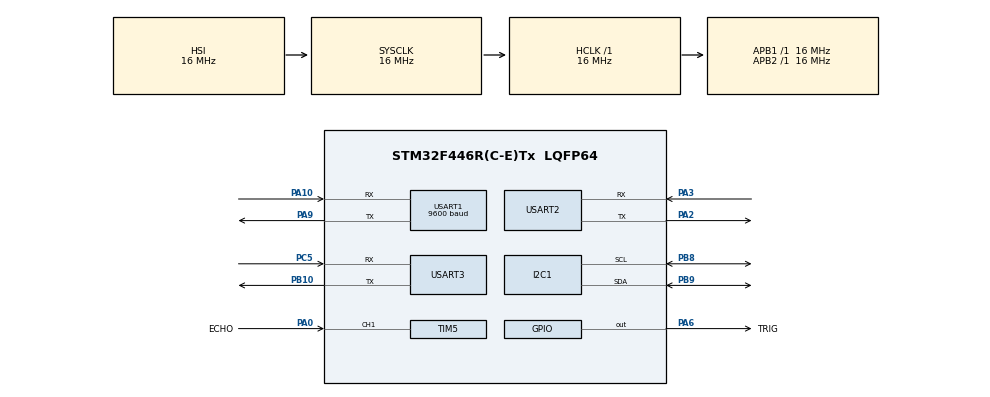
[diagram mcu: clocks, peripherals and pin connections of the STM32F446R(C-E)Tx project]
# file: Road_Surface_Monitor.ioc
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Mcu.Family=STM32F4
Mcu.Name=STM32F446R(C-E)Tx
Mcu.Package=LQFP64
NVIC.PriorityGroup=NVIC_PRIORITYGROUP_0
NVIC.TIM5_IRQn=true\:0\:0\:false\:false\:true\:true\:true\:true
NVIC.USART1_IRQn=true\:0\:0\:false\:false\:true\:true\:true\:true
NVIC.USART3_IRQn=true\:0\:0\:false\:false\:true\:true\:true\:true
PA0-WKUP.GPIO_Label=ECHO
PA0-WKUP.Signal=S_TIM5_CH1
PA10.Mode=Asynchronous
PA10.Signal=USART1_RX
PA13.Signal=SYS_JTMS-SWDIO
PA14.GPIO_Label=TCK
PA14.Signal=SYS_JTCK-SWCLK
PA2.Mode=Asynchronous
PA2.Signal=USART2_TX
PA3.Mode=Asynchronous
PA3.Signal=USART2_RX
PA6.GPIO_Label=TRIG
PA6.GPIO_Speed=GPIO_SPEED_FREQ_HIGH
PA6.Signal=GPIO_Output
PA9.Mode=Asynchronous
PA9.Signal=USART1_TX
PB10.Mode=Asynchronous
PB10.Signal=USART3_TX
PB3.GPIO_Label=SWO
PB3.Signal=SYS_JTDO-SWO
PB8.GPIO_Pu=GPIO_NOPULL
PB8.Mode=I2C
PB8.Signal=I2C1_SCL
PB9.Mode=I2C
PB9.Signal=I2C1_SDA
PC14-OSC32_IN.Signal=RCC_OSC32_IN
PC15-OSC32_OUT.Signal=RCC_OSC32_OUT
PC5.Mode=Asynchronous
PC5.Signal=USART3_RX
PH0-OSC_IN.Signal=RCC_OSC_IN
PH1-OSC_OUT.Signal=RCC_OSC_OUT
ProjectManager.HeapSize=0x200
ProjectManager.StackSize=0x400
ProjectManager.TargetToolchain=STM32CubeIDE
RCC.AHBFreq_Value=16000000
RCC.APB1Freq_Value=16000000
RCC.APB1TimFreq_Value=16000000
RCC.APB2Freq_Value=16000000
RCC.APB2TimFreq_Value=16000000
RCC.CortexFreq_Value=16000000
RCC.FLatency-AdvancedSettings=FLASH_LATENCY_0
RCC.HCLKFreq_Value=16000000
RCC.HSE_VALUE=8000000
RCC.HSI_VALUE=16000000
RCC.LSE_VALUE=32768
RCC.PLLN=336
RCC.PLLP=RCC_PLLP_DIV4
RCC.SYSCLKFreq_VALUE=16000000
RCC.USBFreq_Value=168000000
RCC.VCOOutputFreq_Value=336000000
SH.S_TIM5_CH1.0=TIM5_CH1,Input_Capture1_from_TI1
TIM5.Channel-Input_Capture1_from_TI1=TIM_CHANNEL_1
TIM5.ClockDivision=TIM_CLOCKDIVISION_DIV1
TIM5.Prescaler=15
USART1.BaudRate=9600
USART1.VirtualMode=VM_ASYNC
USART2.VirtualMode=VM_ASYNC
USART3.VirtualMode=VM_ASYNC
VP_TIM5_VS_ClockSourceINT.Mode=Internal
board=NUCLEO-F446RE

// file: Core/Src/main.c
/* USER CODE BEGIN Header */
/**
  ******************************************************************************
  * @file           : main.c
  * @brief          : Main program body
  ******************************************************************************
  * @attention
  *
  * Copyright (c) 2026 STMicroelectronics.
  * All rights reserved.
  *
  * This software is licensed under terms that can be found in the LICENSE file
  * in the root directory of this software component.
  * If no LICENSE file comes with this software, it is provided AS-IS.
  *
  ******************************************************************************
  */
/* USER CODE END Header */
#include "main.h"

/* USER CODE BEGIN Includes */
#include "NEO_6M.h"
#include "HC_SR04.h"
#include "LSM6DS3.h"
#include "ESP32.h"
#include "string.h"
#include <stdio.h>

/* USER CODE END Includes */

/* USER CODE BEGIN PD */
#define IMU_SAMPLE_PERIOD_MS     20
#define EVENT_COOLDOWN_MS        1500

#define BASELINE_DISTANCE_CM        15
#define POTHOLE_DISTANCE_CM         16

#define ROUGH_ROAD_THRESHOLD        400
#define POTHOLE_SHOCK_THRESHOLD     600
#define POTHOLE_CONFIRM_COUNT       2

/* USER CODE END PD */

I2C_HandleTypeDef hi2c1;

TIM_HandleTypeDef htim5;

UART_HandleTypeDef huart1;
UART_HandleTypeDef huart2;
UART_HandleTypeDef huart3;

/* USER CODE BEGIN PV */
GPS_Data_t myGpsData;
char msg[128];
uint32_t last_trigger = 0;
int16_t shock_value;

uint32_t last_imu_sample = 0;
uint32_t last_event_time = 0;

char last_lat[16] = "NO_FIX";
char last_lon[16] = "NO_FIX";
/* USER CODE END PV */

void SystemClock_Config(void);
static void MX_GPIO_Init(void);
static void MX_USART1_UART_Init(void);
static void MX_USART2_UART_Init(void);
static void MX_TIM5_Init(void);
static void MX_I2C1_Init(void);
static void MX_USART3_UART_Init(void);

int main(void)
{

  /* MCU Configuration--------------------------------------------------------*/

  /* Reset of all peripherals, Initializes the Flash interface and the Systick. */
  HAL_Init();

  /* Configure the system clock */
  SystemClock_Config();

  /* Initialize all configured peripherals */
  MX_GPIO_Init();
  MX_USART1_UART_Init();
  MX_USART2_UART_Init();
  MX_TIM5_Init();
  MX_I2C1_Init();
  MX_USART3_UART_Init();
  /* USER CODE BEGIN 2 */
  GPS_Init(&huart1);
  HCSR04_Init();

  HAL_TIM_Base_Start(&htim5);

  HAL_TIM_IC_Start_IT(&htim5,
                      TIM_CHANNEL_1);
  LSM6DS3_Init();

  LSM6DS3_WHOAMI();

  ESP32_Init(&huart3);

  HAL_UART_Transmit(&huart3,
                    (uint8_t*)"STM32_UART3_OK\n",
                    16,
                    100);

  /* USER CODE END 2 */

  /* Infinite loop */
  while (1)
  {

    /* USER CODE BEGIN 3 */
	  GPS_Process();

	  if((HAL_GetTick() - last_trigger >= 200) &&
			  (hcsr04_busy == 0))
	  {
		  last_trigger = HAL_GetTick();
		  HCSR04_Start();
	  }

	  if(GPS_IsDataUpdated())
	  {
		  GPS_GetDataCopy(&myGpsData);

		  if(myGpsData.fix_quality > 0)
		  {
			  strcpy(last_lat, myGpsData.latitude_raw);
			  strcpy(last_lon, myGpsData.longitude_raw);
			  sprintf(msg,
					  "[GPS] UTC:%s | LAT:%s %c | LON:%s %c | SATS:%d | ALT:%s m\r\n",
					  myGpsData.utc_time,
	                  myGpsData.latitude_raw,
	                  myGpsData.latitude_direction,
	                  myGpsData.longitude_raw,
	                  myGpsData.longitude_direction,
	                  myGpsData.satellites,
	                  myGpsData.altitude_raw);
		  }
		  else
		  {
			  sprintf(msg,
					  "[GPS] Waiting For Fix | Visible Sats:%d\r\n",
					  myGpsData.satellites);
		  }
		  HAL_UART_Transmit(&huart2,
				  (uint8_t*)msg,
				  strlen(msg),
				  100);
		  GPS_ClearDataUpdatedFlag();
	     }

	  if(HCSR04_IsDone())
	  {
		  HCSR04_ClearDone();
	  }

	  /* =========================================
	     DETERMINISTIC IMU + ULTRASONIC DETECTION
	     =========================================*/

	  if(HAL_GetTick() - last_imu_sample >= IMU_SAMPLE_PERIOD_MS)
	  {
	      last_imu_sample = HAL_GetTick();

	      shock_value = imu_vertical_shock();

	      /* absolute magnitude */
	      int16_t shock_abs = shock_value;

	      if(shock_abs < 0)
	      {
	          shock_abs = -shock_abs;
	      }

	      /* clamp unstable spikes */
	      if(shock_abs > 3000)
	      {
	          shock_abs = 3000;
	      }

	      /* =====================================
	         ULTRASONIC FILTERING
	         =====================================*/

	      uint32_t distance_avg = HCSR04_GetDistance();

	      if(distance_avg < 5 || distance_avg > 25)
	      {
	          distance_avg = BASELINE_DISTANCE_CM;
	      }

	      /* =====================================
	         POTHOLE CONFIRMATION
	         =====================================*/

	      static uint8_t pothole_confirm_count = 0;

	      if((shock_abs >= POTHOLE_SHOCK_THRESHOLD) &&
	         (distance_avg >= POTHOLE_DISTANCE_CM))
	      {
	          pothole_confirm_count++;

	          if((pothole_confirm_count >= POTHOLE_CONFIRM_COUNT) &&
	             ((HAL_GetTick() - last_event_time) > EVENT_COOLDOWN_MS))
	          {
	              last_event_time = HAL_GetTick();

	              pothole_confirm_count = 0;

	              sprintf(msg,
	                      "[EVENT LOGGED] POTHOLE | SHOCK:%d | DIST:%lu cm | LAT:%s | LON:%s\r\n",
	                      shock_value,
	                      distance_avg,
	                      last_lat,
	                      last_lon);

	              HAL_UART_Transmit(&huart2,
	                                (uint8_t*)msg,
	                                strlen(msg),
	                                100);

	              ESP32_Send_Pothole(shock_value,
	                                 distance_avg,
	                                 last_lat,
	                                 last_lon,
	                                 HAL_GetTick());
	          }
	      }
	      else
	      {
	          pothole_confirm_count = 0;
	      }

	      /* =====================================
	         ROUGH ROAD
	         =====================================*/

	      if((shock_abs >= ROUGH_ROAD_THRESHOLD) &&
	         (shock_abs < POTHOLE_SHOCK_THRESHOLD))
	      {
	          sprintf(msg,
	                  "[ROAD] ROUGH | SHOCK:%d\r\n",
	                  shock_value);

	          HAL_UART_Transmit(&huart2,
	                            (uint8_t*)msg,
	                            strlen(msg),
	                            100);

	          static uint32_t last_rough_send = 0;

	          if(HAL_GetTick() - last_rough_send >= 2000)
	          {
	              last_rough_send = HAL_GetTick();

	              ESP32_Send_RoughRoad(shock_value,
	                                   last_lat,
	                                   last_lon,
	                                   HAL_GetTick());
	          }
	      }

	      /* =====================================
	         NORMAL ROAD
	         =====================================*/

	      else if(shock_abs < ROUGH_ROAD_THRESHOLD)
	      {
	          static uint32_t last_normal = 0;

	          if(HAL_GetTick() - last_normal >= 2000)
	          {
	              last_normal = HAL_GetTick();

	              sprintf(msg,
	                      "[ROAD] NORMAL | SHOCK:%d | DIST:%lu cm\r\n",
	                      shock_value,
	                      distance_avg);

	              HAL_UART_Transmit(&huart2,
	                                (uint8_t*)msg,
	                                strlen(msg),
	                                100);
	          }
	      }
	  }

  }
  /* USER CODE END 3 */
}

void SystemClock_Config(void)
{
  RCC_OscInitTypeDef RCC_OscInitStruct = {0};
  RCC_ClkInitTypeDef RCC_ClkInitStruct = {0};

  /** Configure the main internal regulator output voltage
  */
  __HAL_RCC_PWR_CLK_ENABLE();
  __HAL_PWR_VOLTAGESCALING_CONFIG(PWR_REGULATOR_VOLTAGE_SCALE3);

  /** Initializes the RCC Oscillators according to the specified parameters
  * in the RCC_OscInitTypeDef structure.
  */
  RCC_OscInitStruct.OscillatorType = RCC_OSCILLATORTYPE_HSI;
  RCC_OscInitStruct.HSIState = RCC_HSI_ON;
  RCC_OscInitStruct.HSICalibrationValue = RCC_HSICALIBRATION_DEFAULT;
  RCC_OscInitStruct.PLL.PLLState = RCC_PLL_NONE;
  if (HAL_RCC_OscConfig(&RCC_OscInitStruct) != HAL_OK)
  {
    Error_Handler();
  }

  /** Initializes the CPU, AHB and APB buses clocks
  */
  RCC_ClkInitStruct.ClockType = RCC_CLOCKTYPE_HCLK|RCC_CLOCKTYPE_SYSCLK
                              |RCC_CLOCKTYPE_PCLK1|RCC_CLOCKTYPE_PCLK2;
  RCC_ClkInitStruct.SYSCLKSource = RCC_SYSCLKSOURCE_HSI;
  RCC_ClkInitStruct.AHBCLKDivider = RCC_SYSCLK_DIV1;
  RCC_ClkInitStruct.APB1CLKDivider = RCC_HCLK_DIV1;
  RCC_ClkInitStruct.APB2CLKDivider = RCC_HCLK_DIV1;

  if (HAL_RCC_ClockConfig(&RCC_ClkInitStruct, FLASH_LATENCY_0) != HAL_OK)
  {
    Error_Handler();
  }
}

static void MX_I2C1_Init(void)
{

  hi2c1.Instance = I2C1;
  hi2c1.Init.ClockSpeed = 100000;
  hi2c1.Init.DutyCycle = I2C_DUTYCYCLE_2;
  hi2c1.Init.OwnAddress1 = 0;
  hi2c1.Init.AddressingMode = I2C_ADDRESSINGMODE_7BIT;
  hi2c1.Init.DualAddressMode = I2C_DUALADDRESS_DISABLE;
  hi2c1.Init.OwnAddress2 = 0;
  hi2c1.Init.GeneralCallMode = I2C_GENERALCALL_DISABLE;
  hi2c1.Init.NoStretchMode = I2C_NOSTRETCH_DISABLE;
  if (HAL_I2C_Init(&hi2c1) != HAL_OK)
  {
    Error_Handler();
  }

}

static void MX_TIM5_Init(void)
{

  TIM_ClockConfigTypeDef sClockSourceConfig = {0};
  TIM_MasterConfigTypeDef sMasterConfig = {0};
  TIM_IC_InitTypeDef sConfigIC = {0};

  htim5.Instance = TIM5;
  htim5.Init.Prescaler = 15;
  htim5.Init.CounterMode = TIM_COUNTERMODE_UP;
  htim5.Init.Period = 4294967295;
  htim5.Init.ClockDivision = TIM_CLOCKDIVISION_DIV1;
  htim5.Init.AutoReloadPreload = TIM_AUTORELOAD_PRELOAD_DISABLE;
  if (HAL_TIM_Base_Init(&htim5) != HAL_OK)
  {
    Error_Handler();
  }
  sClockSourceConfig.ClockSource = TIM_CLOCKSOURCE_INTERNAL;
  if (HAL_TIM_ConfigClockSource(&htim5, &sClockSourceConfig) != HAL_OK)
  {
    Error_Handler();
  }
  if (HAL_TIM_IC_Init(&htim5) != HAL_OK)
  {
    Error_Handler();
  }
  sMasterConfig.MasterOutputTrigger = TIM_TRGO_RESET;
  sMasterConfig.MasterSlaveMode = TIM_MASTERSLAVEMODE_DISABLE;
  if (HAL_TIMEx_MasterConfigSynchronization(&htim5, &sMasterConfig) != HAL_OK)
  {
    Error_Handler();
  }
  sConfigIC.ICPolarity = TIM_INPUTCHANNELPOLARITY_RISING;
  sConfigIC.ICSelection = TIM_ICSELECTION_DIRECTTI;
  sConfigIC.ICPrescaler = TIM_ICPSC_DIV1;
  sConfigIC.ICFilter = 0;
  if (HAL_TIM_IC_ConfigChannel(&htim5, &sConfigIC, TIM_CHANNEL_1) != HAL_OK)
  {
    Error_Handler();
  }

}

static void MX_USART1_UART_Init(void)
{

  huart1.Instance = USART1;
  huart1.Init.BaudRate = 9600;
  huart1.Init.WordLength = UART_WORDLENGTH_8B;
  huart1.Init.StopBits = UART_STOPBITS_1;
  huart1.Init.Parity = UART_PARITY_NONE;
  huart1.Init.Mode = UART_MODE_TX_RX;
  huart1.Init.HwFlowCtl = UART_HWCONTROL_NONE;
  huart1.Init.OverSampling = UART_OVERSAMPLING_16;
  if (HAL_UART_Init(&huart1) != HAL_OK)
  {
    Error_Handler();
  }

}

static void MX_USART2_UART_Init(void)
{

  huart2.Instance = USART2;
  huart2.Init.BaudRate = 115200;
  huart2.Init.WordLength = UART_WORDLENGTH_8B;
  huart2.Init.StopBits = UART_STOPBITS_1;
  huart2.Init.Parity = UART_PARITY_NONE;
  huart2.Init.Mode = UART_MODE_TX_RX;
  huart2.Init.HwFlowCtl = UART_HWCONTROL_NONE;
  huart2.Init.OverSampling = UART_OVERSAMPLING_16;
  if (HAL_UART_Init(&huart2) != HAL_OK)
  {
    Error_Handler();
  }

}

static void MX_USART3_UART_Init(void)
{

  huart3.Instance = USART3;
  huart3.Init.BaudRate = 115200;
  huart3.Init.WordLength = UART_WORDLENGTH_8B;
  huart3.Init.StopBits = UART_STOPBITS_1;
  huart3.Init.Parity = UART_PARITY_NONE;
  huart3.Init.Mode = UART_MODE_TX_RX;
  huart3.Init.HwFlowCtl = UART_HWCONTROL_NONE;
  huart3.Init.OverSampling = UART_OVERSAMPLING_16;
  if (HAL_UART_Init(&huart3) != HAL_OK)
  {
    Error_Handler();
  }

}

static void MX_GPIO_Init(void)
{
  GPIO_InitTypeDef GPIO_InitStruct = {0};

  /* GPIO Ports Clock Enable */
  __HAL_RCC_GPIOC_CLK_ENABLE();
  __HAL_RCC_GPIOH_CLK_ENABLE();
  __HAL_RCC_GPIOA_CLK_ENABLE();
  __HAL_RCC_GPIOB_CLK_ENABLE();

  /*Configure GPIO pin Output Level */
  HAL_GPIO_WritePin(TRIG_GPIO_Port, TRIG_Pin, GPIO_PIN_RESET);

  /*Configure GPIO pin : TRIG_Pin */
  GPIO_InitStruct.Pin = TRIG_Pin;
  GPIO_InitStruct.Mode = GPIO_MODE_OUTPUT_PP;
  GPIO_InitStruct.Pull = GPIO_NOPULL;
  GPIO_InitStruct.Speed = GPIO_SPEED_FREQ_HIGH;
  HAL_GPIO_Init(TRIG_GPIO_Port, &GPIO_InitStruct);

}

/* USER CODE BEGIN 4 */
void HAL_UART_ErrorCallback(UART_HandleTypeDef *huart)
{
    if(huart->Instance == USART1)
    {
        /* Forcefully clear the Overrun Error flag */
        __HAL_UART_CLEAR_OREFLAG(huart);

        /* Restart the GPS listening interrupt using your existing function */
        GPS_Init(huart);
    }
}

/* USER CODE END 4 */

void Error_Handler(void)
{
  __disable_irq();
  while (1)
  {
  }
}
